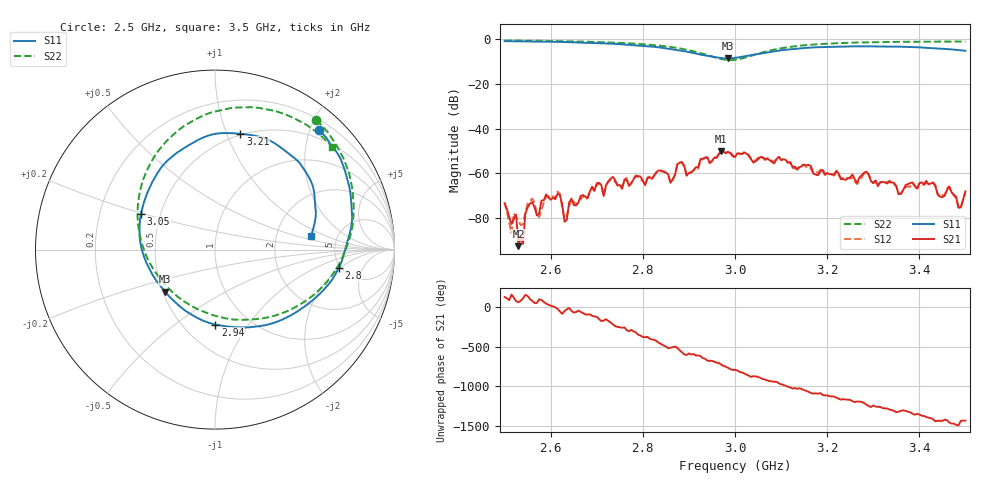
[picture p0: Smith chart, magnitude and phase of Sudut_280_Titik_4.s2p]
# Hz S RI R 50
! CMT, C1220, 16058040, 17.2.0/1
! Date: 15/08/2018 10:35:38
! Data: Format (Calibration Info)
! Freq  S11: Re/Im (F2)  S21: Re/Im (F2)  S12: Re/Im (F2)  S22: Re/Im (F2)
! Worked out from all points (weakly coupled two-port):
!   201 points, 2.5 GHz to 3.5 GHz, reference 50 ohm
!   highest |S21| = -50.06 dB at 2.97 GHz (marker M1); lowest = -92.4 dB at 2.53 GHz (marker M2)
!   lowest |S11| = -8.8 dB at 2.985 GHz (marker M3), VSWR 2.14, Z = 25.7 - j13.9 ohm
!   |S11| at or under -10 dB: nowhere
!   |S22| runs from -9.5 to -0.8 dB; largest |S21 - S12| = 0.00024
!   S11 on the Smith chart (normalised r, x): 2.5 GHz: 0.35, +2.15; 2.8 GHz: 4.78, -1.93; 2.94 GHz: 0.71, -0.71; 3.05 GHz: 0.39, +0.19; 3.21 GHz: 0.49, +1.12; 3.5 GHz: 3.18, +0.70
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2.5e9  0.5812 0.6671  -0.000121 0.000177  -0.000166 0.000154  0.5647 0.7226
2.53e9  0.6222 0.6201  1.19e-05 2.07e-05  -5.87e-06 9.02e-05  0.5983 0.6876
2.615e9  0.7118 0.4748  0.00032 -0.000149  0.000379 -0.000101  0.6882 0.5609
2.635e9  0.7296 0.42  8.03e-05 -4.61e-05  0.000111 -2.17e-05  0.7075 0.5249
2.645e9  0.7365 0.3953  0.000185 -0.000204  0.000186 -0.000189  0.7169 0.5054
2.67e9  0.7508 0.3372  7.44e-05 -0.000322  5.6e-05 -0.000312  0.7376 0.4517
2.8e9  0.6887 -0.1042  0.000658 -0.00022  0.000648 -0.000179  0.7529 0.0736
2.835e9  0.6029 -0.227  -5.54e-05 -0.00117  5.68e-07 -0.00112  0.7008 -0.0619
2.86e9  0.4953 -0.3199  -0.000557 -0.000269  -0.000546 -0.000284  0.6358 -0.1651
2.88e9  0.3969 -0.3794  -0.00173 0.000202  -0.00177 0.000242  0.5584 -0.2457
2.895e9  0.3141 -0.4124  -0.000382 0.000819  -0.000374 0.00081  0.4837 -0.2994
2.94e9  0.00262 -0.4175  0.00169 0.00156  0.00165 0.00153  0.1823 -0.3905
2.97e9  -0.1961 -0.3163  0.00312 -0.00037  0.00314 -0.000417  -0.0573 -0.3482
2.985e9  -0.2785 -0.2341  0.00204 -0.00223  0.00219 -0.00214  -0.1713 -0.2891
3e9  -0.3482 -0.1398  0.000693 -0.00221  0.000601 -0.00227  -0.271 -0.2037
3.05e9  -0.4128 0.1972  -0.00195 -0.000639  -0.00211 -0.00066  -0.4312 0.176
3.17e9  -0.0112 0.6425  0.00097 -0.0002  0.00101 -0.00016  -0.0779 0.7414
3.21e9  0.1411 0.6452  0.000639 -0.000718  0.000556 -0.000754  0.0673 0.7842
3.335e9  0.4684 0.4861  -0.000545 0.000351  -0.000561 0.000405  0.4022 0.749
3.465e9  0.5593 0.1707  0.000489 -0.000145  0.000482 -0.000161  0.6111 0.6159
3.485e9  0.5479 0.1182  0.000101 -0.00014  6.46e-05 -0.000164  0.6344 0.5913
3.5e9  0.5348 0.0779  0.000397 4.18e-05  0.000363 8.62e-06  0.6515 0.5743
